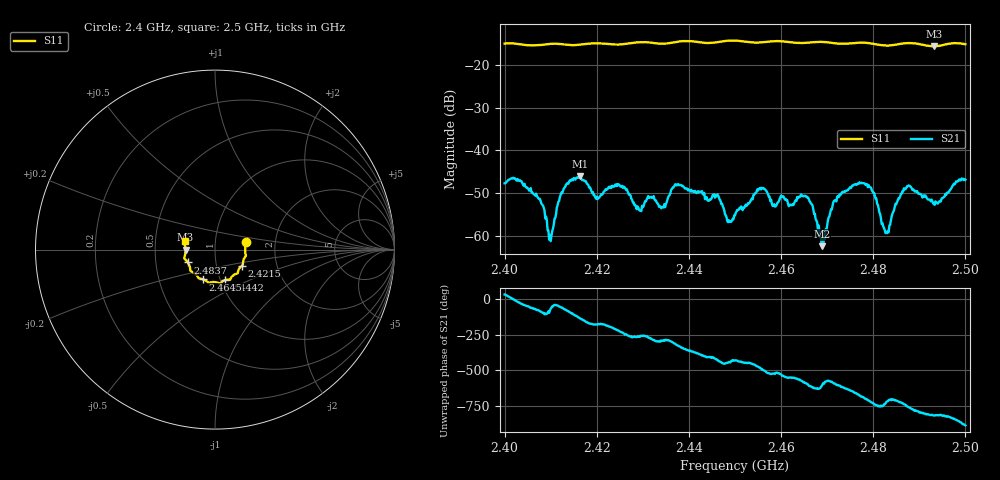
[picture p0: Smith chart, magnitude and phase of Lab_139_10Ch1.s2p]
# Hz S RI R 50
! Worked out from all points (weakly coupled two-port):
!   601 points, 2.4 GHz to 2.5 GHz, reference 50 ohm
!   highest |S21| = -46.06 dB at 2.4163 GHz (marker M1); lowest = -62.3 dB at 2.4688 GHz (marker M2)
!   lowest |S11| = -15.7 dB at 2.4932 GHz (marker M3), VSWR 1.39, Z = 35.9 - j0.0601 ohm
!   |S11| at or under -10 dB: start of sweep to end of sweep
!   S12 and S22 are empty: the file has one direction only
!   S11 on the Smith chart (normalised r, x): 2.4 GHz: 1.41, +0.12; 2.4215 GHz: 1.33, -0.25; 2.4442 GHz: 1.05, -0.37; 2.4645 GHz: 0.83, -0.29; 2.4837 GHz: 0.73, -0.11; 2.5 GHz: 0.71, +0.07
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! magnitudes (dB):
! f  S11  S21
! 2.4 GHz  -15.1  -47.6
! 2.4073 GHz  -15.5  -51.1
! 2.4098 GHz  -15.2  -59.7
! 2.4127 GHz  -15.3  -49.4
! 2.4163 GHz  -15.3  -46.1
! 2.4167 GHz  -15.3  -46.6
! 2.4215 GHz  -15.1  -49.6
! 2.4333 GHz  -15.1  -52.5
! 2.4375 GHz  -14.7  -48.1
! 2.4442 GHz  -15.0  -51.7
! 2.45 GHz  -14.4  -55.1
! 2.4557 GHz  -14.8  -49.1
! 2.4645 GHz  -15.0  -50.5
! 2.4667 GHz  -14.8  -52.5
! 2.4688 GHz  -14.7  -62.3
! 2.4718 GHz  -15.1  -51.7
! 2.4772 GHz  -14.9  -47.6
! 2.4833 GHz  -15.6  -59.1
! 2.4837 GHz  -15.5  -57.3
! 2.4875 GHz  -15.0  -48.3
! 2.4932 GHz  -15.7  -52.5
! 2.5 GHz  -15.3  -46.8
